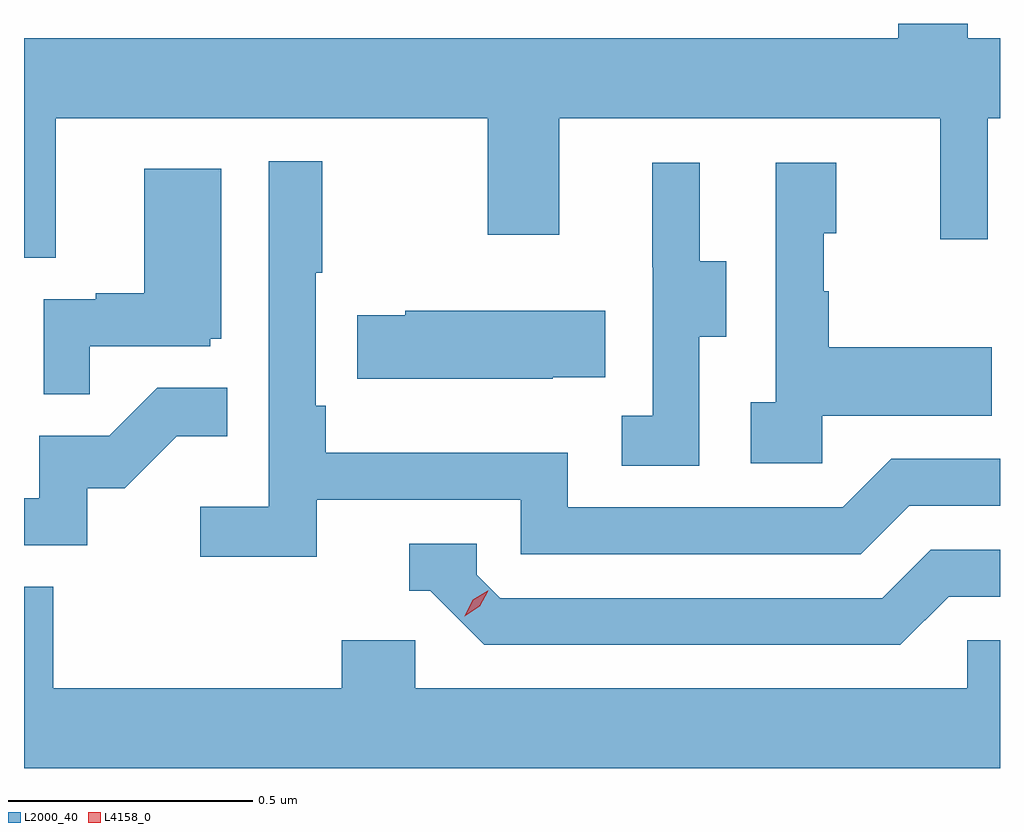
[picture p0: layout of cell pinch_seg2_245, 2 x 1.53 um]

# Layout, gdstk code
import gdstk
lib = gdstk.Library(unit=1e-6, precision=1e-09)
def P(c, l, *ps):  # polygons
    for p in ps: c.add(gdstk.Polygon(p, *l))
L2000_40 = (2000, 40)
L4158_0 = (4158, 0)

pinch_seg2_245 = lib.new_cell('pinch_seg2_245')
P(pinch_seg2_245, L2000_40, [(902.647,651.632),(903.532,651.632),(903.532,651.393),(903.679,651.393),(903.679,651.632),(904.46,651.632),(904.46,651.384),(904.557,651.384),(904.557,651.632),(904.582,651.632),(904.582,651.796),(904.516,651.796),(904.516,651.826),(904.373,651.826),(904.373,651.796),(902.582,651.796),(902.582,651.346),(902.647,651.346)],
  [(903.182,650.85),(903.6,650.85),(903.6,650.739),(904.297,650.739),(904.396,650.838),(904.582,650.838),(904.582,650.934),(904.359,650.934),(904.26,650.835),(903.696,650.835),(903.696,650.947),(903.2,650.947),(903.2,651.043),(903.18,651.043),(903.18,651.316),(903.193,651.316),(903.193,651.544),(903.084,651.544),(903.084,650.836),(902.943,650.836),(902.943,650.734),(903.182,650.734)],
  [(904.218,651.023),(904.565,651.023),(904.565,651.163),(904.231,651.163),(904.231,651.278),(904.221,651.278),(904.221,651.396),(904.246,651.396),(904.246,651.541),(904.122,651.541),(904.122,651.05),(904.071,651.05),(904.071,650.925),(904.218,650.925)],
  [(903.966,651.184),(904.021,651.184),(904.021,651.339),(903.967,651.339),(903.967,651.541),(903.869,651.541),(903.869,651.327),(903.87,651.327),(903.87,651.023),(903.807,651.023),(903.807,650.92),(903.966,650.92)],
  [(902.717,651.165),(902.964,651.165),(902.964,651.18),(902.986,651.18),(902.986,651.529),(902.828,651.529),(902.828,651.274),(902.729,651.274),(902.729,651.261),(902.622,651.261),(902.622,651.067),(902.717,651.067)],
  [(903.665,651.101),(903.773,651.101),(903.773,651.238),(903.363,651.238),(903.363,651.228),(903.265,651.228),(903.265,651.098),(903.665,651.098)],
  [(902.712,650.874),(902.788,650.874),(902.895,650.981),(902.999,650.981),(902.999,651.08),(902.855,651.08),(902.757,650.982),(902.613,650.982),(902.613,650.853),(902.582,650.853),(902.582,650.757),(902.712,650.757)],
  [(904.477,650.652),(904.582,650.652),(904.582,650.748),(904.44,650.748),(904.341,650.649),(903.558,650.649),(903.51,650.697),(903.51,650.76),(903.371,650.76),(903.371,650.664),(903.414,650.664),(903.525,650.553),(904.378,650.553)],
  [(904.582,650.562),(904.515,650.562),(904.515,650.464),(903.384,650.464),(903.384,650.562),(903.233,650.562),(903.233,650.464),(902.642,650.464),(902.642,650.672),(902.582,650.672),(902.582,650.3),(904.582,650.3)])
P(pinch_seg2_245, L4158_0, [(903.485,650.612),(903.485,650.613),(903.502,650.645),(903.532,650.664),(903.533,650.664),(903.533,650.664),(903.516,650.632),(903.485,650.612)])

lib.write_gds('pinch_seg2_245.gds')
